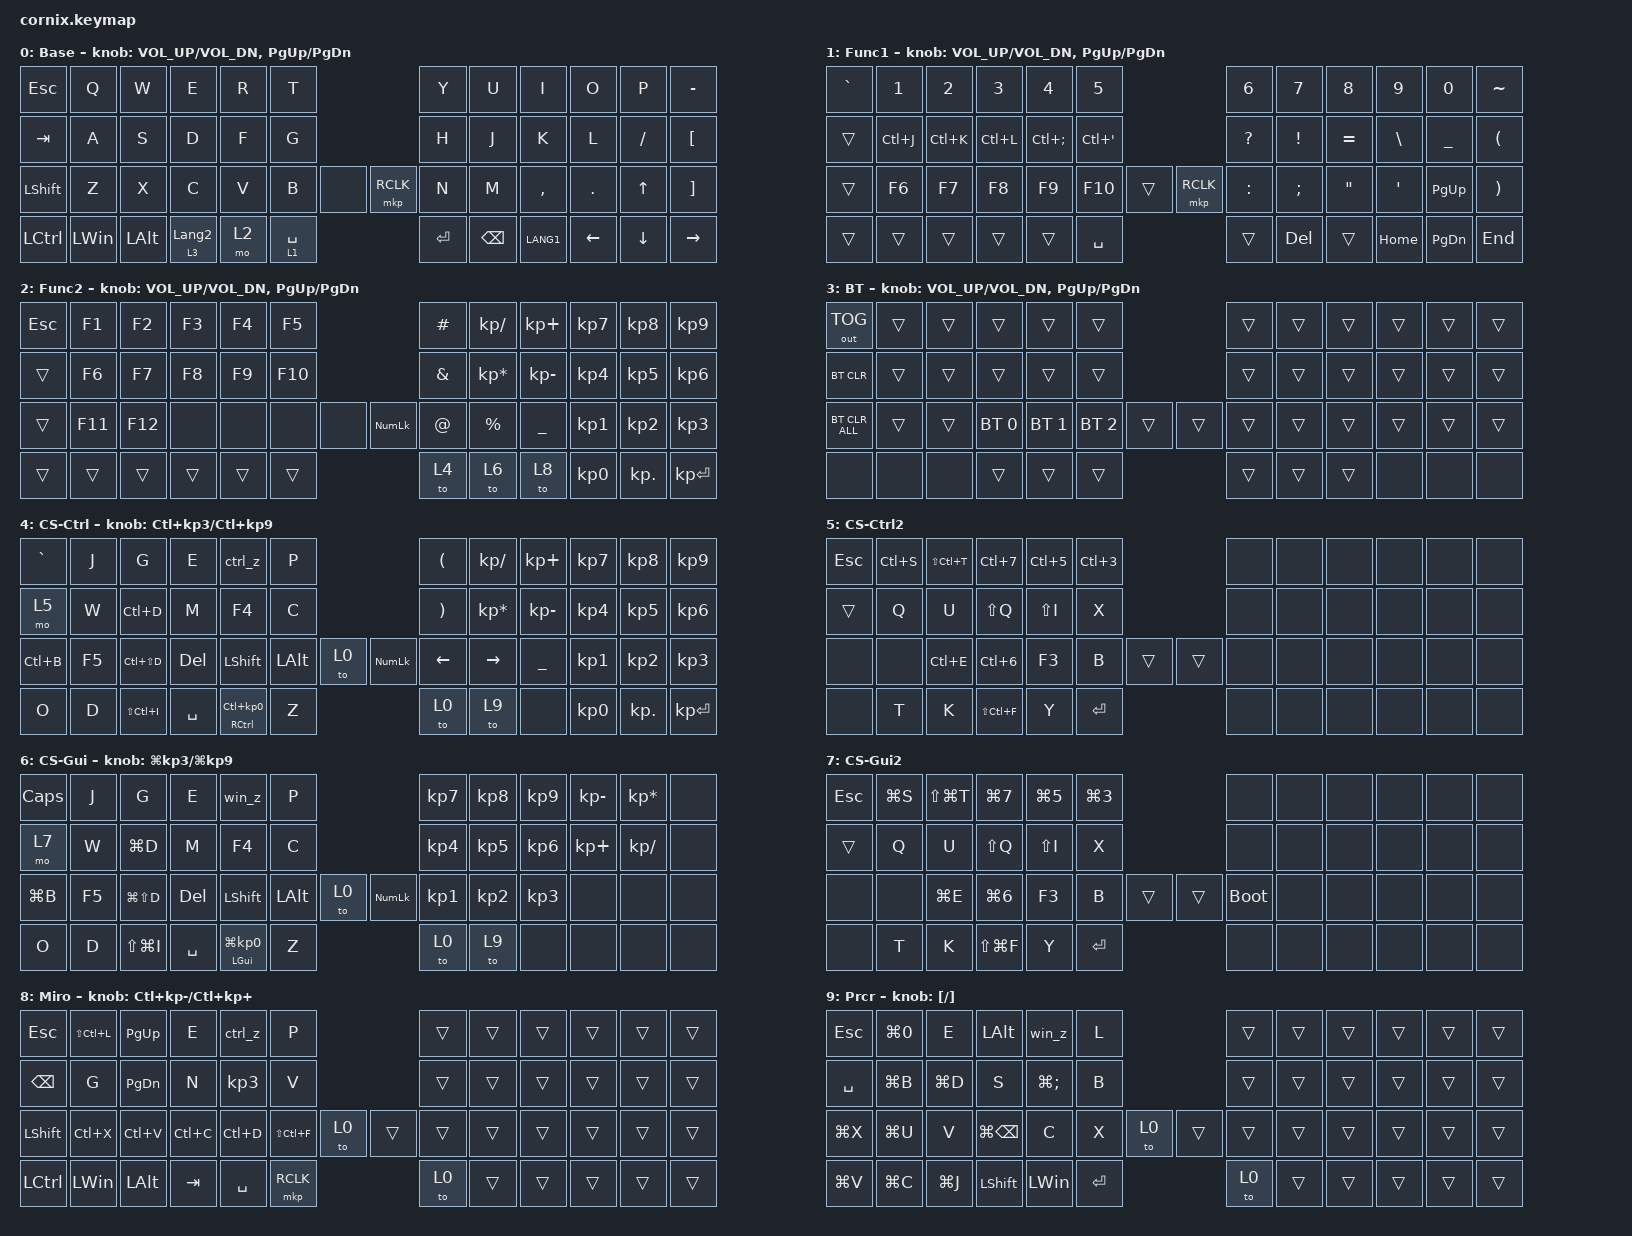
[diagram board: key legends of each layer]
/*
 * Copyright (c) 2020 The ZMK Contributors
 *
 * SPDX-License-Identifier: MIT
 */

#include "zmk-helpers/helper.h"
#include "includes/cornix54.h"

// tap windows for ctl alt and gui

#define HM_TAPPING_TERM 250
#define HM_TAPPING_REPEAT 210

// quick tapping for shift

#define HM_TAPPING_TERM_FAST 200
#define HM_PRIOR_IDLE 70
#define BASE 0
#define WIN 1
#define LOWER 2
#define RAISE 3
#define ADJUST 4
#define NAVI   5
#define NUM    6
#define DEBUG  7

// https://github.com/urob/zmk-config/tree/main#timeless-homerow-mods

#define KEYS_L LT0 LT1 LT2 LT3 LT4 LT5 LM0 LM1 LM2 LM3 LM4 LM5 LB0 LB1 LB2 LB3 LB4 LB5  // left hand
#define KEYS_R RT0 RT1 RT2 RT3 RT4 RT5 RM0 RM1 RM2 RM3 RM4 RM5 RB0 RB1 RB2 RB3 RB4 RB5  // right hand
#define THUMBS LH1 LH0 RH0 RH1
#define KEYS_T LH1 LH0 RH0 RH1
#define ZMK_POINTING_DEFAULT_SCRL_VAL 15

#include <behaviors.dtsi>
#include <dt-bindings/zmk/bt.h>
#include <dt-bindings/zmk/keys.h>
#include <dt-bindings/zmk/outputs.h>
#include <dt-bindings/zmk/pointing.h>

/ {
    // Activate ADJUST layer by pressing raise and lower

    behaviors {
        // Positional Homerow mods for shift
        // Use faster tapping term and disable some features that may
        // cause false negatives.
        /*
         * Non-Positional Homerow Mods
         * Used for &mm_grescm_gui behavior on left hand.
         *
         * Usage: &hm LSHFT T
         * Tap: T
         * Tap-Tap-Hold: Repeat T
         * Hold: LSHIFT
         */
    };

    conditional_layers { compatible = "zmk,conditional-layers"; };

    combos {
        compatible = "zmk,combos";

        Ctrl {
            bindings = <&kp RCTRL>;
            key-positions = <4 3>;
            layers = <4>;
        };

        Alt {
            bindings = <&kp LALT>;
            key-positions = <16 15>;
            layers = <4 6>;
        };

        Gui {
            bindings = <&kp LWIN>;
            key-positions = <4 3>;
            layers = <6>;
        };

        senhaba-ctrl {
            bindings = <&kp Y>;
            key-positions = <4 5>;
            layers = <4>;
        };

        senhaba-gui {
            bindings = <&kp Y>;
            key-positions = <4 5>;
            layers = <6>;
        };

        toumei20 {
            bindings = <&kp LA(KP_NUMBER_2)>;
            key-positions = <3 2>;
            layers = <4 6>;
        };

        toumei100 {
            bindings = <&kp LA(KP_NUMBER_0)>;
            key-positions = <2 1>;
            layers = <4 6>;
        };
    };

    macros {
        ctrl_z: ctrl_z {
            compatible = "zmk,behavior-macro";
            #binding-cells = <0>;
            bindings = <&kp LC(Z)>;
            label = "CTRL_Z";
        };

        win_z: win_z {
            compatible = "zmk,behavior-macro";
            #binding-cells = <0>;
            bindings = <&kp LG(Z)>;
            label = "WIN_Z";
        };
    };

    keymap {
        compatible = "zmk,keymap";

        default_layer {
            display-name = "Base";

            // ------------------------------------------------------------------------------------------------------------
            // |   `   |  1  |  2  |  3   |  4   |  5   |                   |  6   |  7    |  8    |  9   |   0   |       |
            // |  ESC  |  Q  |  W  |  E   |  R   |  T   |                   |  Y   |  U    |  I    |  O   |   P   | BKSPC |
            // |  TAB  |  A  |  S  |  D   |  F   |  G   |                   |  H   |  J    |  K    |  L   |   ;   |   '   |
            // | SHIFT |  Z  |  X  |  C   |  V   |  B   |  MUTE  |  |       |  N   |  M    |  ,    |  .   |   /   | SHIFT |
            //               | GUI | ALT  | CTRL | LOWER|  ENTER |  | SPACE | RAISE| CTRL  | ALT   | GUI  |

            bindings = <
&kp ESC         &kp Q         &kp W         &kp E             &kp R  &kp T                          &kp Y      &kp U          &kp I      &kp O           &kp P           &kp MINUS
&kp TAB         &kp A         &kp S         &kp D             &kp F  &kp G                          &kp H      &kp J          &kp K      &kp L           &kp FSLH        &kp LEFT_BRACKET
&kp LEFT_SHIFT  &kp Z         &kp X         &kp C             &kp V  &kp B        &none  &mkp RCLK  &kp N      &kp M          &kp COMMA  &kp DOT         &kp UP_ARROW    &kp RIGHT_BRACKET
&kp LCTRL       &kp LEFT_WIN  &kp LEFT_ALT  &lt 3 LANGUAGE_2  &mo 2  &lt 1 SPACE                    &kp ENTER  &kp BACKSPACE  &kp LANG1  &kp LEFT_ARROW  &kp DOWN_ARROW  &kp RIGHT_ARROW
            >;

            sensor-bindings = <&inc_dec_kp C_VOL_UP C_VOL_DN &inc_dec_kp PG_UP PG_DN>;
        };

        Function1_layer {
            display-name = "Func1";

            // ------------------------------------------------------------------------------------------------------------
            // |   `   |  1  |  2  |  3   |  4   |  5   |                   |  6   |  7    |  8    |  9   |   0   |       |
            // |  ESC  |  Q  |  W  |  E   |  R   |  T   |                   |  Y   |  U    |  I    |  O   |   P   | BKSPC |
            // |  TAB  |  A  |  S  |  D   |  F   |  G   |                   |  H   |  J    |  K    |  L   |   ;   |   '   |
            // | SHIFT |  Z  |  X  |  C   |  V   |  B   |  MUTE  |  |       |  N   |  M    |  ,    |  .   |   /   | SHIFT |
            //               | GUI | ALT  | CTRL | LOWER|  ENTER |  | SPACE | RAISE| CTRL  | ALT   | GUI  |

            bindings = <
&kp GRAVE  &kp N1     &kp N2     &kp N3     &kp N4        &kp N5                          &kp N6     &kp N7    &kp N8     &kp N9            &kp N0         &kp TILDE
&trans     &kp LC(J)  &kp LC(K)  &kp LC(L)  &kp LC(SEMI)  &kp LC(SQT)                     &kp QMARK  &kp EXCL  &kp EQUAL  &kp BSLH          &kp UNDER      &kp LPAR
&trans     &kp F6     &kp F7     &kp F8     &kp F9        &kp F10      &trans  &mkp RCLK  &kp COLON  &kp SEMI  &kp DQT    &kp SINGLE_QUOTE  &kp PG_UP      &kp RPAR
&trans     &trans     &trans     &trans     &trans        &kp SPACE                       &trans     &kp DEL   &trans     &kp HOME          &kp PAGE_DOWN  &kp END
            >;

            sensor-bindings = <&inc_dec_kp C_VOL_UP C_VOL_DN &inc_dec_kp PG_UP PG_DN>;
        };

        Function2_layer {
            display-name = "Func2";

            // TODO: Some binds are waiting for shifted keycode support.
            // -------------------------------
            // |       |  F1 |  F2 |  F3  |  F4  |  F5  |                   |  F6  |  F7   |  F8   |  F9  |  F10  |  F11  |
            // |   `   |  1  |  2  |  3   |  4   |  5   |                   |  6   |  7    |  8    |  9   |   0   |  F12  |
            // |       |  !  |  @  |  #   |  $   |  %   |                   |  ^   |  &    |  *    |  (   |   )   |   |   |
            // |       |  =  |  -  |  +   |  {   |  }   |        |  |       |  [   |  ]    |  ;    |  :   |   \   |       |
            //               |     |      |      |      |        |  |       |      |       |       |      |

            bindings = <
&kp ESC  &kp F1   &kp F2   &kp F3  &kp F4  &kp F5                          &kp HASH  &kp KP_SLASH     &kp KP_PLUS   &kp KP_NUMBER_7  &kp KP_NUMBER_8  &kp KP_NUMBER_9
&trans   &kp F6   &kp F7   &kp F8  &kp F9  &kp F10                         &kp AMPS  &kp KP_ASTERISK  &kp KP_MINUS  &kp KP_NUMBER_4  &kp KP_NUMBER_5  &kp KP_NUMBER_6
&trans   &kp F11  &kp F12  &none   &none   &none    &none  &kp KP_NUMLOCK  &kp AT    &kp PRCNT        &kp UNDER     &kp KP_NUMBER_1  &kp KP_NUMBER_2  &kp KP_NUMBER_3
&trans   &trans   &trans   &trans  &trans  &trans                          &to 4     &to 6            &to 8         &kp KP_NUMBER_0  &kp KP_DOT       &kp KP_ENTER
            >;

            sensor-bindings = <&inc_dec_kp C_VOL_UP C_VOL_DN &inc_dec_kp PG_UP PG_DN>;
        };

        BT_layer {
            display-name = "BT";

            // ------------------------------------------------------------------------------------------------------------
            // | BTCLR | BT1  | BT2  |  BT3  |  BT4  |  BT5 |                |      |      |       |      |       |       |
            // |       | INS  | PSCR | GUI   |       |      |                | PGUP |      |   ^   |      |       |       |
            // |       | ALT  | CTRL | SHIFT |       | CAPS |                | PGDN |   <- |   v   |  ->  |  DEL  | BKSPC |
            // |       | UNDO | CUT  | COPY  | PASTE |      |      |  |      |      |      |       |      |       |       |
            //                |      |       |       |      |      |  |      |      |      |       |      |

            bindings = <
&out OUT_TOG    &trans  &trans  &trans        &trans        &trans                        &trans  &trans  &trans  &trans  &trans  &trans
&bt BT_CLR      &trans  &trans  &trans        &trans        &trans                        &trans  &trans  &trans  &trans  &trans  &trans
&bt BT_CLR_ALL  &trans  &trans  &bt BT_SEL 0  &bt BT_SEL 1  &bt BT_SEL 2  &trans  &trans  &trans  &trans  &trans  &trans  &trans  &trans
&none           &none   &none   &trans        &trans        &trans                        &trans  &trans  &trans  &none   &none   &none
            >;

            sensor-bindings = <&inc_dec_kp C_VOL_UP C_VOL_DN &inc_dec_kp PG_UP PG_DN>;
        };

        ClipStudio1_layer {
            display-name = "CS-Ctrl";

            // ----------------------------------------------------------------------------------------------------------------------------
            // | BTCLR  |  BT1    |  BT2    |   BT3   |   BT4   |   BT5   |                  |      |      |       |      |       |       |
            // | moDEBUG| RGB_HUD | RGB_HUI | RGB_SAD | RGB_SAI | RGB_EFF |                  |      |      |       |      |       |       |
            // | EXTPWR | RGB_BRD | RGB_BRI |         |         |         |                  |      |      |       |      |       |       |
            // |        |         |         |         |         |         | RGB_TOG | |      |      |      |       |      |       |       |
            //                    |         |         |         |         |         | |      |      |      |       |      |

            bindings = <
&kp GRAVE  &kp J   &kp G          &kp E      &ctrl_z                    &kp P                                &kp LPAR        &kp KP_SLASH     &kp KP_PLUS   &kp KP_NUMBER_7  &kp KP_NUMBER_8  &kp KP_NUMBER_9
&mo 5      &kp W   &kp LC(D)      &kp M      &kp F4                     &kp C                                &kp RPAR        &kp KP_ASTERISK  &kp KP_MINUS  &kp KP_NUMBER_4  &kp KP_NUMBER_5  &kp KP_NUMBER_6
&kp LC(B)  &kp F5  &kp LC(LS(D))  &kp DEL    &kp LSHIFT                 &kp LEFT_ALT  &to 0  &kp KP_NUMLOCK  &kp LEFT_ARROW  &kp RIGHT_ARROW  &kp UNDER     &kp KP_NUMBER_1  &kp KP_NUMBER_2  &kp KP_NUMBER_3
&kp O      &kp D   &kp LS(LC(I))  &kp SPACE  &mt RCTRL LC(KP_NUMBER_0)  &kp Z                                &to 0           &to 9            &none         &kp KP_NUMBER_0  &kp KP_DOT       &kp KP_ENTER
            >;

            sensor-bindings = <&inc_dec_kp LC(KP_NUMBER_3) LC(KP_NUMBER_9)>;
        };

        ClipStudio1-2_layer {
            display-name = "CS-Ctrl2";
            bindings = <
&kp ESC  &kp LC(S)  &kp LS(LC(T))  &kp LC(N7)        &kp LC(N5)  &kp LC(N3)                  &none  &none  &none  &none  &none  &none
&trans   &kp Q      &kp U          &kp LS(Q)         &kp LS(I)   &kp X                       &none  &none  &none  &none  &none  &none
&none    &none      &kp LC(E)      &kp LC(NUMBER_6)  &kp F3      &kp B       &trans  &trans  &none  &none  &none  &none  &none  &none
&none    &kp T      &kp K          &kp LS(LC(F))     &kp Y       &kp ENTER                   &none  &none  &none  &none  &none  &none
            >;
        };

        ClipStudio2_layer {
            display-name = "CS-Gui";
            bindings = <
&kp CAPS   &kp J   &kp G          &kp E      &win_z                        &kp P                                &kp KP_N7        &kp KP_N8        &kp KP_N9  &kp KP_MINUS  &kp KP_MULTIPLY  &none
&mo 7      &kp W   &kp LG(D)      &kp M      &kp F4                        &kp C                                &kp KP_NUMBER_4  &kp KP_NUMBER_5  &kp KP_N6  &kp KP_PLUS   &kp KP_DIVIDE    &none
&kp LG(B)  &kp F5  &kp LG(LS(D))  &kp DEL    &kp LSHIFT                    &kp LEFT_ALT  &to 0  &kp KP_NUMLOCK  &kp KP_NUMBER_1  &kp KP_NUMBER_2  &kp KP_N3  &none         &none            &none
&kp O      &kp D   &kp LS(LG(I))  &kp SPACE  &mt LEFT_GUI LG(KP_NUMBER_0)  &kp Z                                &to 0            &to 9            &none      &none         &none            &none
            >;

            sensor-bindings = <&inc_dec_kp LG(KP_NUMBER_3) LG(KP_NUMBER_9)>;
        };

        ClipStudio2-2_layer {
            display-name = "CS-Gui2";

            // ----------------------------------------------------------------------------------------------------------------------------
            // | BTCLR  |  BT1    |  BT2    |   BT3   |   BT4   |   BT5   |                  |      |      |       |      |       |       |
            // | EXTPWR | BTCLR | RGB_HUI | RGB_SAD | RGB_SAI | RGB_EFF |                  |      |      |       |      |       |       |
            // |        | RGB_BRD | RGB_BRI |         |         |         |                  |      |      |       |      |       |       |
            // |        |         |         |         |         |         | RGB_TOG | |      |      |      |       |      |       |       |
            //                    |         |         |         |         |         | |      |      |      |       |      |

            bindings = <
&kp ESC  &kp LG(S)  &kp LS(LG(T))  &kp LG(N7)        &kp LG(N5)  &kp LG(N3)                  &none        &none  &none  &none  &none  &none
&trans   &kp Q      &kp U          &kp LS(Q)         &kp LS(I)   &kp X                       &none        &none  &none  &none  &none  &none
&none    &none      &kp LG(E)      &kp LG(NUMBER_6)  &kp F3      &kp B       &trans  &trans  &bootloader  &none  &none  &none  &none  &none
&none    &kp T      &kp K          &kp LS(LG(F))     &kp Y       &kp ENTER                   &none        &none  &none  &none  &none  &none
            >;
        };

        Miro_layer {
            display-name = "Miro";
            bindings = <
&kp ESC        &kp LS(LC(L))  &kp PAGE_UP    &kp E      &ctrl_z          &kp P                         &trans  &trans  &trans  &trans  &trans  &trans
&kp BACKSPACE  &kp G          &kp PAGE_DOWN  &kp N      &kp KP_NUMBER_3  &kp V                         &trans  &trans  &trans  &trans  &trans  &trans
&kp LSHIFT     &kp LC(X)      &kp LC(V)      &kp LC(C)  &kp LC(D)        &kp LS(LC(F))  &to 0  &trans  &trans  &trans  &trans  &trans  &trans  &trans
&kp LCTRL      &kp LWIN       &kp LALT       &kp TAB    &kp SPACE        &mkp RCLK                     &to 0   &trans  &trans  &trans  &trans  &trans
            >;

            sensor-bindings = <&inc_dec_kp LC(KP_MINUS) LC(KP_PLUS)>;
        };

        Procreate_layer {
            display-name = "Prcr";
            bindings = <
&kp ESC    &kp LG(N0)  &kp E      &kp LALT           &win_z        &kp L                     &trans  &trans  &trans  &trans  &trans  &trans
&kp SPACE  &kp LG(B)   &kp LG(D)  &kp S              &kp LG(SEMI)  &kp B                     &trans  &trans  &trans  &trans  &trans  &trans
&kp LG(X)  &kp LG(U)   &kp V      &kp LG(BACKSPACE)  &kp C         &kp X      &to 0  &trans  &trans  &trans  &trans  &trans  &trans  &trans
&kp LG(V)  &kp LG(C)   &kp LG(J)  &kp LSHIFT         &kp LEFT_WIN  &kp ENTER                 &to 0   &trans  &trans  &trans  &trans  &trans
            >;

            sensor-bindings = <&inc_dec_kp LBKT RBKT>;
        };
    };
};
